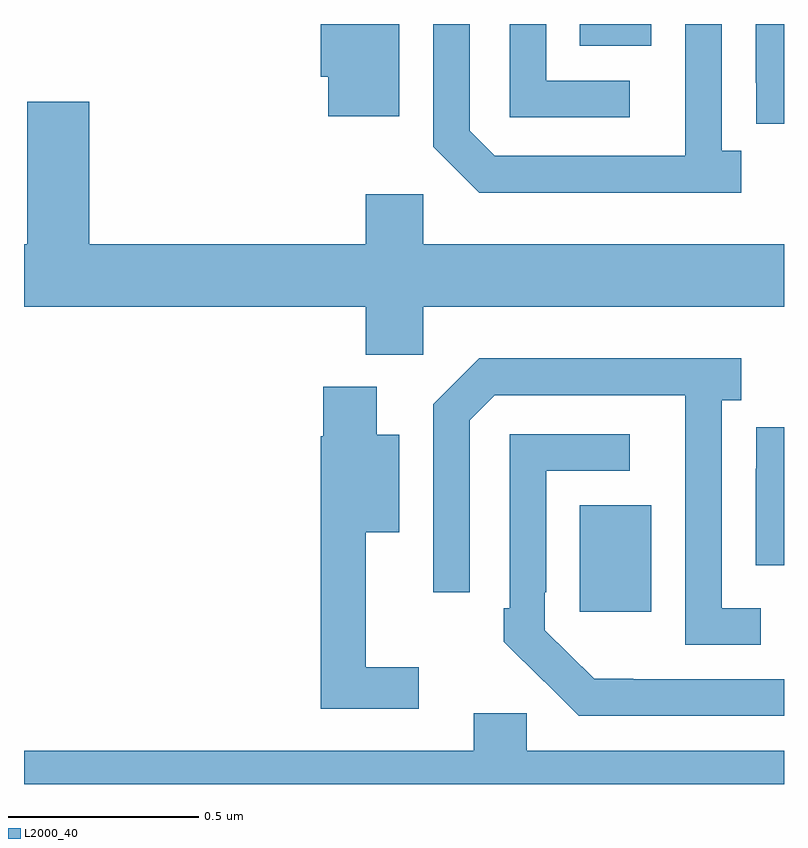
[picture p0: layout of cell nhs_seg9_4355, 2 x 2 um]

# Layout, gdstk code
import gdstk
lib = gdstk.Library(unit=1e-6, precision=1e-09)
def R(c, l, rs):  # rectangles x0, y0, x1, y1
    for r in rs: c.add(gdstk.rectangle(r[:2], r[2:], *l))
def P(c, l, *ps):  # polygons
    for p in ps: c.add(gdstk.Polygon(p, *l))
L2000_40 = (2000, 40)

nhs_seg9_4355 = lib.new_cell('nhs_seg9_4355')
R(nhs_seg9_4355, L2000_40, [(166.463,1192.953,166.651,1193.233), (166.463,1194.443,166.651,1194.5)])
P(nhs_seg9_4355, L2000_40, [(165.988,1194.5),(165.781,1194.5),(165.781,1194.361),(165.8,1194.361),(165.8,1194.257),(165.988,1194.257)],
  [(167,1194.5),(166.926,1194.5),(166.926,1194.346),(166.927,1194.346),(166.927,1194.237),(167,1194.237)],
  [(166.888,1194.166),(166.836,1194.166),(166.836,1194.5),(166.74,1194.5),(166.74,1194.153),(166.239,1194.153),(166.173,1194.219),(166.173,1194.5),(166.077,1194.5),(166.077,1194.177),(166.198,1194.056),(166.888,1194.056)],
  [(166.594,1194.351),(166.374,1194.351),(166.374,1194.5),(166.278,1194.5),(166.278,1194.255),(166.594,1194.255)],
  [(166.05,1193.756),(167,1193.756),(167,1193.92),(166.05,1193.92),(166.05,1194.052),(165.899,1194.052),(165.899,1193.92),(165.172,1193.92),(165.172,1194.295),(165.008,1194.295),(165.008,1193.92),(165,1193.92),(165,1193.756),(165.899,1193.756),(165.899,1193.63),(166.05,1193.63)],
  [(166.939,1192.962),(166.836,1192.962),(166.836,1193.51),(166.888,1193.51),(166.888,1193.62),(166.198,1193.62),(166.077,1193.499),(166.077,1193.004),(166.173,1193.004),(166.173,1193.457),(166.239,1193.523),(166.74,1193.523),(166.74,1192.866),(166.939,1192.866)],
  [(166.039,1192.807),(165.899,1192.807),(165.899,1193.162),(165.988,1193.162),(165.988,1193.419),(165.928,1193.419),(165.928,1193.545),(165.788,1193.545),(165.788,1193.415),(165.781,1193.415),(165.781,1192.698),(166.039,1192.698)],
  [(167,1193.439),(166.927,1193.439),(166.927,1193.33),(166.926,1193.33),(166.926,1193.076),(167,1193.076)],
  [(167,1192.776),(166.603,1192.776),(166.603,1192.777),(166.5,1192.777),(166.371,1192.905),(166.371,1193.005),(166.374,1193.005),(166.374,1193.325),(166.594,1193.325),(166.594,1193.421),(166.278,1193.421),(166.278,1192.963),(166.263,1192.963),(166.263,1192.875),(166.368,1192.77),(166.369,1192.771),(166.46,1192.68),(167,1192.68)],
  [(167,1192.588),(166.323,1192.588),(166.323,1192.686),(166.184,1192.686),(166.184,1192.588),(165,1192.588),(165,1192.5),(167,1192.5)])

lib.write_gds('nhs_seg9_4355.gds')
